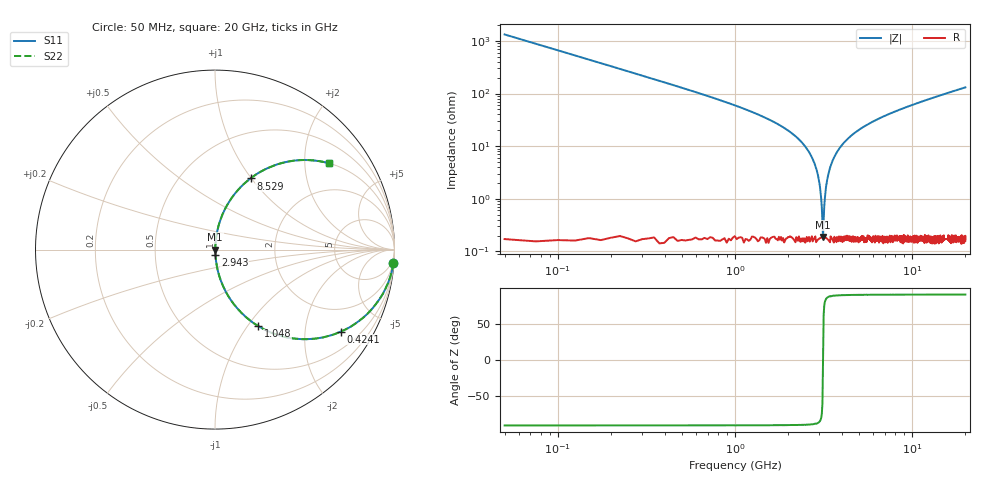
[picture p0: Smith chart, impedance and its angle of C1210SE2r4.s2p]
! AVX Thin Film Operation		Date: April 2012
! Description: Accu-P® Series, Thin Film, SMD, RF Capacitor
! Part Number: 12101J2R4QBTTR
!	100	MHz	-	20.05	GHz
!	Serial	Measurements
#	MHZ	S	MA	R	50
!	S11	S21	S12	S22
!	dB	Phase	dB	Phase	dB	Phase	dB	Phase
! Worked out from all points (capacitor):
!   801 points, 50 MHz to 20 GHz, reference 50 ohm
!   read as one part in series: C = 2.4 pF near 149.8 MHz
!   lowest |Z| = 187 mohm at 3.142 GHz (marker M1)
!   series resonance near 3.141 GHz, so ESL is about 1.1 nH
!   S11 on the Smith chart (normalised r, x): 50 MHz: 1, -27; 424.1 MHz: 1.01, -3.07; 1.048 GHz: 1.00, -1.13; 2.943 GHz: 1.00, -0.06; 8.529 GHz: 1.00, +0.99; 20 GHz: 1.00, +2.62
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50  0.997 -4.3  0.075 85.7  0.075 85.7  0.997 -4.3
224.563  0.946 -18.8  0.322 71.2  0.322 71.2  0.946 -18.8
424.063  0.837 -33.1  0.546 56.9  0.546 56.9  0.837 -33.1
1047.5  0.49 -60.5  0.87 29.3  0.87 29.3  0.49 -60.5
1596.125  0.294 -72.6  0.954 17.1  0.954 17.1  0.294 -72.6
2394.125  0.115 -82.5  0.992 6.6  0.992 6.6  0.115 -82.5
2743.25  0.057 -85.0  0.997 3.3  0.997 3.3  0.057 -85.0
2942.75  0.028 -84.8  0.998 1.6  0.998 1.6  0.028 -84.8
3067.438  0.01 -79.6  0.998 0.6  0.998 0.6  0.01 -79.6
3142.25  0.00173 7.0  0.998 -0.0  0.998 -0.0  0.00173 7.0
3217.063  0.01 79.8  0.998 -0.6  0.998 -0.6  0.01 79.8
3291.875  0.02 83.9  0.998 -1.1  0.998 -1.1  0.02 83.9
3391.625  0.032 85.1  0.998 -1.9  0.998 -1.9  0.032 85.1
3765.688  0.077 84.3  0.995 -4.4  0.995 -4.4  0.077 84.3
4364.188  0.14 81.3  0.988 -8.0  0.988 -8.0  0.14 81.3
5336.75  0.228 76.4  0.972 -13.2  0.972 -13.2  0.228 76.4
6708.313  0.332 70.4  0.942 -19.4  0.942 -19.4  0.332 70.4
8528.75  0.443 63.5  0.895 -26.3  0.895 -26.3  0.443 63.5
10025  0.519 58.6  0.853 -31.2  0.853 -31.2  0.519 58.6
13366.62  0.647 49.6  0.762 -40.3  0.762 -40.3  0.647 49.6
16683.31  0.734 42.7  0.678 -47.2  0.678 -47.2  0.734 42.7
20000  0.795 37.3  0.606 -52.6  0.606 -52.6  0.795 37.3
